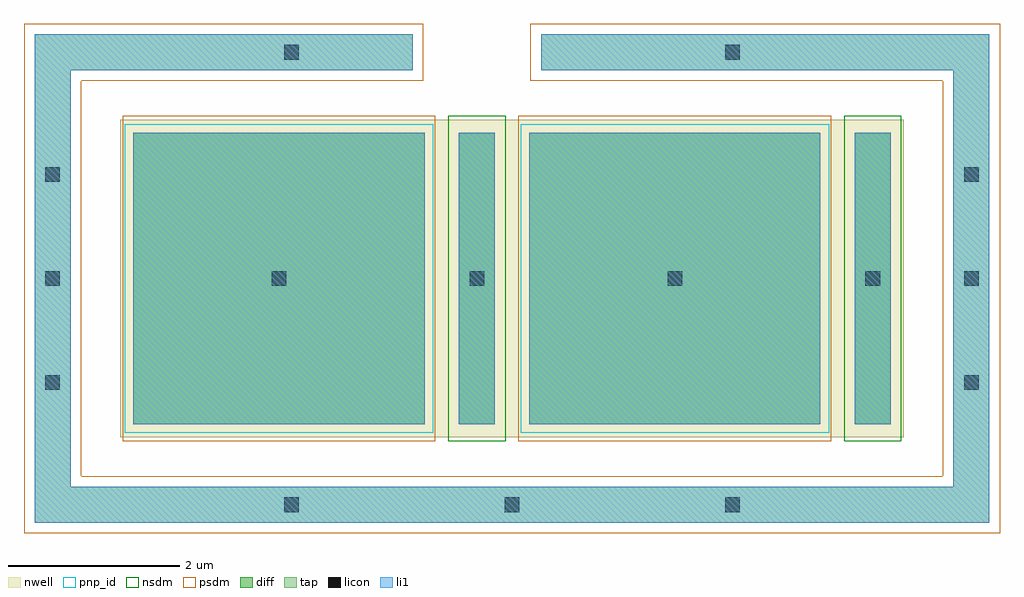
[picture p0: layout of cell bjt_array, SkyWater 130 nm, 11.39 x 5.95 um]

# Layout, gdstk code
import gdstk
lib = gdstk.Library(unit=1e-6, precision=1e-09)
def R(c, l, rs):  # rectangles x0, y0, x1, y1
    for r in rs: c.add(gdstk.rectangle(r[:2], r[2:], *l))
def A(c, l, x, y, w, h, nx, ny, dx, dy):  # array of equal rectangles
    R(c, l, [(x+i*dx, y+j*dy, x+i*dx+w, y+j*dy+h) for i in range(nx) for j in range(ny)])
def P(c, l, *ps):  # polygons
    for p in ps: c.add(gdstk.Polygon(p, *l))
nwell = (64, 20)
diff = (65, 20)
tap = (65, 44)
licon = (66, 44)
li1 = (67, 20)
pnp_id = (82, 44)
nsdm = (93, 44)
psdm = (94, 20)

bjt_array = lib.new_cell('bjt_array')
R(bjt_array, nwell, [(-0.15,-0.15,8.99,3.55)])
R(bjt_array, diff, [(0,0,3.4,3.4), (3.8,0,4.22,3.4), (4.62,0,8.02,3.4), (8.42,0,8.84,3.4)])
R(bjt_array, tap, [(3.8,0,4.22,3.4), (8.42,0,8.84,3.4)])
P(bjt_array, tap, [(-1.15,-1.15),(-1.15,4.55),(3.26,4.55),(3.26,4.13),(-0.73,4.13),(-0.73,-0.73),(9.57,-0.73),(9.57,4.13),(4.76,4.13),(4.76,4.55),(9.99,4.55),(9.99,-1.15)])
A(bjt_array, licon, 1.76, -1.025, 0.17, 0.17, 3, 1, 2.575, 0)
A(bjt_array, licon, -1.025, 0.4, 0.17, 0.17, 1, 3, 0, 1.215)
A(bjt_array, licon, 9.695, 0.4, 0.17, 0.17, 1, 3, 0, 1.215)
A(bjt_array, licon, 1.615, 1.615, 0.17, 0.17, 4, 1, 2.31, 0)
R(bjt_array, licon, [(1.76,4.255,1.93,4.425), (6.91,4.255,7.08,4.425)])
R(bjt_array, li1, [(0,0,3.4,3.4), (3.8,0,4.22,3.4), (4.62,0,8.02,3.4), (8.42,0,8.84,3.4)])
P(bjt_array, li1, [(-1.15,-1.15),(-1.15,4.55),(3.26,4.55),(3.26,4.13),(-0.73,4.13),(-0.73,-0.73),(9.57,-0.73),(9.57,4.13),(4.76,4.13),(4.76,4.55),(9.99,4.55),(9.99,-1.15)])
R(bjt_array, pnp_id, [(-0.1,-0.1,3.5,3.5), (4.52,-0.1,8.12,3.5)])
R(bjt_array, nsdm, [(3.675,-0.2,4.345,3.6), (8.295,-0.2,8.965,3.6)])
R(bjt_array, psdm, [(-0.125,-0.2,3.525,3.6), (4.495,-0.2,8.145,3.6)])
P(bjt_array, psdm, [(-1.275,-1.275),(-1.275,4.675),(3.385,4.675),(3.385,4.005),(-0.605,4.005),(-0.605,-0.605),(9.445,-0.605),(9.445,4.005),(4.635,4.005),(4.635,4.675),(10.115,4.675),(10.115,-1.275)])

lib.write_gds('bjt_array.gds')
